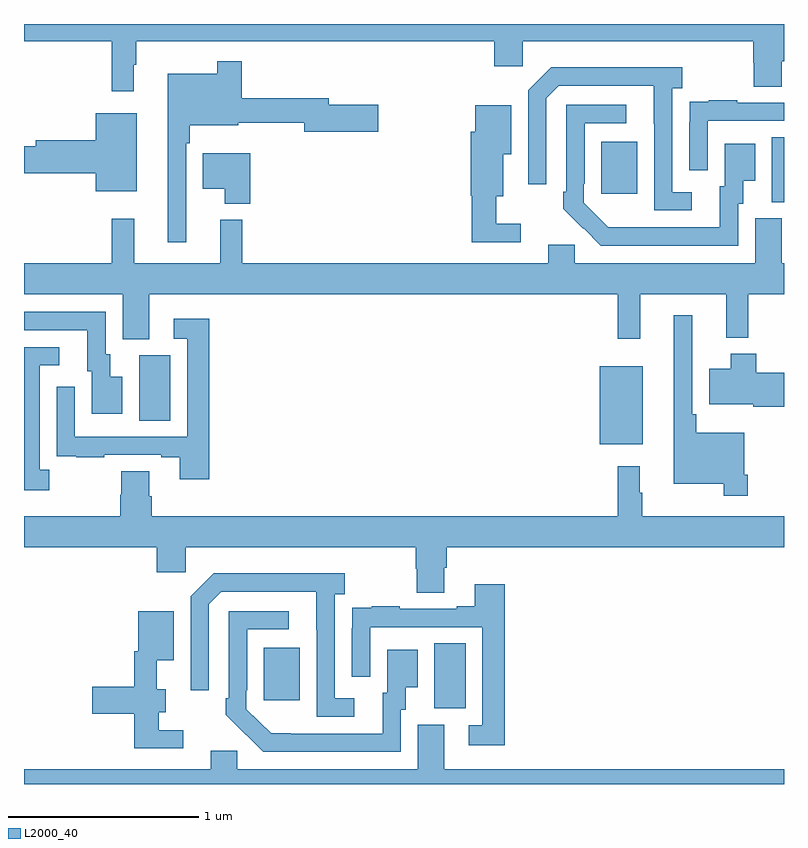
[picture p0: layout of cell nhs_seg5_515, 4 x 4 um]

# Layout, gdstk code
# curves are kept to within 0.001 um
import gdstk
lib = gdstk.Library(unit=1e-6, precision=1e-09)
def R(c, l, rs):  # rectangles x0, y0, x1, y1
    for r in rs: c.add(gdstk.rectangle(r[:2], r[2:], *l))
def P(c, l, *ps):  # polygons
    for p in ps: c.add(gdstk.Polygon(p, *l))
L2000_40 = (2000, 40)

nhs_seg5_515 = lib.new_cell('nhs_seg5_515')
R(nhs_seg5_515, L2000_40, [(145.16,905.197,145.324,905.54), (144.263,905.241,144.451,905.515), (146.03,906.587,146.257,906.997), (143.606,906.712,143.77,907.056), (146.936,907.861,147,908.204), (146.039,907.905,146.227,908.179)])
P(nhs_seg5_515, L2000_40, [(143.578,908.585),(143.59,908.585),(143.59,908.708),(145.475,908.708),(145.475,908.577),(145.626,908.577),(145.626,908.708),(146.837,908.708),(146.837,908.595),(146.842,908.595),(146.842,908.47),(146.989,908.47),(146.989,908.602),(147,908.602),(147,908.799),(143,908.799),(143,908.708),(143.461,908.708),(143.461,908.445),(143.578,908.445)],
  [(143.853,908.171),(143.873,908.171),(143.873,908.267),(144.127,908.267),(144.127,908.278),(144.476,908.278),(144.476,908.231),(144.865,908.231),(144.865,908.373),(144.604,908.373),(144.604,908.407),(144.146,908.407),(144.146,908.602),(144.018,908.602),(144.018,908.536),(143.756,908.536),(143.756,907.65),(143.853,907.65)],
  [(146.515,907.914),(146.412,907.914),(146.412,908.462),(146.464,908.462),(146.464,908.572),(145.774,908.572),(145.653,908.451),(145.653,907.956),(145.749,907.956),(145.749,908.409),(145.815,908.475),(146.315,908.475),(146.316,907.818),(146.515,907.818)],
  [(146.598,908.289),(147,908.289),(147,908.385),(146.753,908.385),(146.753,908.398),(146.605,908.398),(146.605,908.391),(146.503,908.391),(146.503,908.282),(146.502,908.282),(146.502,908.028),(146.598,908.028)],
  [(146.76,907.854),(146.785,907.854),(146.785,907.973),(146.848,907.973),(146.848,908.17),(146.687,908.17),(146.687,907.944),(146.663,907.944),(146.663,907.728),(146.076,907.729),(145.947,907.857),(145.947,907.957),(145.95,907.957),(145.95,908.277),(146.17,908.277),(146.17,908.373),(145.854,908.373),(145.854,907.915),(145.839,907.915),(145.839,907.827),(146.036,907.632),(146.76,907.632)],
  [(145.615,907.747),(145.486,907.747),(145.486,907.892),(145.522,907.892),(145.522,908.114),(145.564,908.114),(145.564,908.371),(145.376,908.371),(145.376,908.232),(145.352,908.232),(145.352,907.896),(145.357,907.896),(145.357,907.65),(145.615,907.65)],
  [(143.593,908.329),(143.378,908.329),(143.378,908.186),(143.063,908.186),(143.063,908.156),(143,908.156),(143,908.014),(143.378,908.014),(143.378,907.919),(143.593,907.919)],
  [(144.191,908.119),(143.942,908.119),(143.942,907.931),(144.056,907.931),(144.056,907.853),(144.191,907.853)],
  [(143.659,907.376),(146.125,907.376),(146.125,907.143),(146.243,907.143),(146.243,907.376),(146.696,907.376),(146.696,907.148),(146.813,907.148),(146.813,907.376),(147,907.376),(147,907.54),(146.989,907.54),(146.989,907.776),(146.849,907.776),(146.849,907.54),(145.899,907.54),(145.899,907.638),(145.76,907.638),(145.76,907.54),(144.149,907.54),(144.149,907.768),(144.032,907.768),(144.032,907.54),(143.579,907.54),(143.579,907.774),(143.461,907.774),(143.461,907.54),(143,907.54),(143,907.376),(143.519,907.376),(143.519,907.141),(143.659,907.141)],
  [(143.518,906.943),(143.455,906.943),(143.455,907.062),(143.43,907.062),(143.43,907.284),(143,907.284),(143,907.188),(143.333,907.188),(143.333,906.972),(143.357,906.972),(143.357,906.747),(143.518,906.747)],
  [(146.81,906.427),(146.79,906.427),(146.79,906.649),(146.537,906.649),(146.537,906.745),(146.517,906.745),(146.517,907.267),(146.42,907.267),(146.42,906.38),(146.682,906.38),(146.682,906.315),(146.81,906.315)],
  [(143.975,907.249),(143.787,907.249),(143.787,907.143),(143.859,907.143),(143.859,906.627),(143.268,906.627),(143.268,906.889),(143.172,906.889),(143.172,906.634),(143.173,906.634),(143.173,906.525),(143.275,906.525),(143.275,906.519),(143.423,906.519),(143.423,906.531),(143.723,906.531),(143.723,906.519),(143.819,906.519),(143.819,906.402),(143.975,906.402)],
  [(143.134,906.454),(143.082,906.454),(143.082,907.002),(143.185,907.002),(143.185,907.098),(143,907.098),(143,906.344),(143.134,906.344)],
  [(147,906.963),(146.855,906.963),(146.855,907.063),(146.72,907.063),(146.72,906.985),(146.606,906.985),(146.606,906.797),(146.838,906.797),(146.838,906.785),(147,906.785)],
  [(145.213,905.938),(145.226,905.938),(145.226,906.044),(147,906.044),(147,906.208),(146.254,906.208),(146.254,906.332),(146.242,906.332),(146.242,906.472),(146.125,906.472),(146.125,906.208),(143.672,906.208),(143.672,906.314),(143.659,906.314),(143.659,906.446),(143.512,906.446),(143.512,906.321),(143.507,906.321),(143.507,906.208),(143,906.208),(143,906.044),(143.699,906.044),(143.699,905.913),(143.85,905.913),(143.85,906.044),(145.061,906.044),(145.061,905.931),(145.066,905.931),(145.066,905.806),(145.213,905.806)],
  [(144.739,905.25),(144.636,905.25),(144.636,905.798),(144.688,905.798),(144.688,905.908),(143.998,905.908),(143.877,905.787),(143.877,905.292),(143.973,905.292),(143.973,905.745),(144.039,905.811),(144.539,905.811),(144.54,905.154),(144.739,905.154)],
  [(145.529,905.851),(145.373,905.851),(145.373,905.734),(145.277,905.734),(145.277,905.721),(144.977,905.721),(144.977,905.734),(144.829,905.734),(144.829,905.727),(144.727,905.727),(144.727,905.618),(144.726,905.618),(144.726,905.364),(144.822,905.364),(144.822,905.625),(145.413,905.625),(145.413,905.109),(145.341,905.109),(145.341,905.004),(145.529,905.004)],
  [(144.984,905.19),(145.009,905.19),(145.009,905.309),(145.072,905.309),(145.072,905.506),(144.911,905.506),(144.911,905.28),(144.887,905.28),(144.887,905.064),(144.3,905.065),(144.171,905.193),(144.171,905.293),(144.174,905.293),(144.174,905.613),(144.394,905.613),(144.394,905.709),(144.078,905.709),(144.078,905.251),(144.063,905.251),(144.063,905.163),(144.26,904.968),(144.984,904.968)],
  [(143.839,905.082),(143.71,905.082),(143.71,905.177),(143.746,905.177),(143.746,905.299),(143.699,905.299),(143.699,905.45),(143.788,905.45),(143.788,905.707),(143.6,905.707),(143.6,905.499),(143.581,905.499),(143.581,905.312),(143.358,905.312),(143.358,905.17),(143.581,905.17),(143.581,904.986),(143.839,904.986)],
  [(147,904.876),(145.213,904.876),(145.213,905.112),(145.073,905.112),(145.073,904.876),(144.123,904.876),(144.123,904.974),(143.984,904.974),(143.984,904.876),(143,904.876),(143,904.799),(147,904.799)])

lib.write_gds('nhs_seg5_515.gds')
